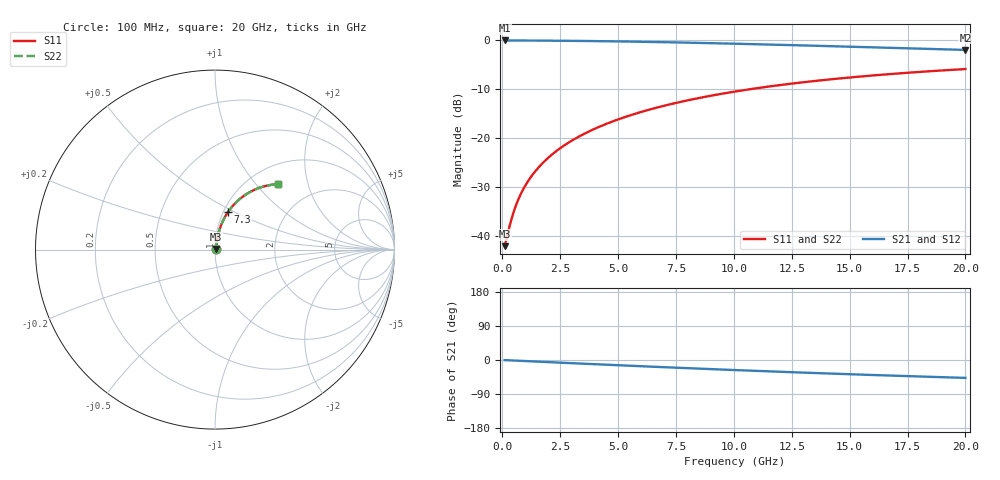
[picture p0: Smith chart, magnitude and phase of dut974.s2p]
! Touchstone file exported from HFSS 2024.1.0
!  File:  C:/UserFiles/LocalFiles/RDL_TSV_Batchsim/temp_RDL_bottom_974_1779943159.aedt
!  Generated:  12:41:59 PM May 28, 2026
!  Design:  RDL_bottom
!  Project:  temp_RDL_bottom_974_1779943159
!  Setup:  Setup1
!  Solution:  Sweep
! Variables:
!  dtsv = 10.80580581um
!  hbump = 3um
!  htsv = 84.82um
!  ldown = 626.53um
!  lrdl = 100um
!  p = 40
!  p1 = 44.38um
!  rhole = 1um
!  t = 450um
!  tdown = 2.57um
!  trdl = 3.915915916um
!  wdown = 12.01um
!  wrdl = 20um
# GHz S MA R 50.000000
! Terminal data exported
! Port[1] = RDL1_T1
! Port[2] = RDL1_T2
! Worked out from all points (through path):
!   200 points, 100 MHz to 20 GHz, reference 50 ohm
!   highest |S21| = -0.06 dB at 100 MHz (marker M1); lowest = -2.0 dB at 20 GHz (marker M2)
!   group delay of S21, straight-line fit = 6.57 ps
!   lowest |S11| = -42.0 dB at 100 MHz (marker M3), VSWR 1.02, Z = 50.7 + j0.333 ohm
!   |S11| at or under -10 dB: start of sweep to 10.7 GHz
!   |S22| runs from -42.0 to -5.9 dB; largest |S21 - S12| = 2.8e-15
!   S11 on the Smith chart (normalised r, x): 100 MHz: 1.01, +0.01; 7.3 GHz: 1.05, +0.47; 20 GHz: 1.35, +1.32
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0.1  0.007947 24.4  0.9928 -0.3  0.9928 -0.3  0.007947 24.4
! Gamma 0 0 0 0
! Port Impedance 50 0 50 0
0.4  0.01511 59.5  0.9924 -1.2  0.9924 -1.2  0.01511 59.5
0.5  0.01803 64.0  0.9922 -1.4  0.9922 -1.4  0.01803 64.0
0.6  0.02101 67.1  0.992 -1.7  0.992 -1.7  0.02101 67.1
0.7  0.02403 69.4  0.9918 -2.0  0.9918 -2.0  0.02403 69.4
0.9  0.0301 72.5  0.9913 -2.6  0.9913 -2.6  0.0301 72.5
1.2  0.03925 75.1  0.9905 -3.4  0.9905 -3.4  0.03925 75.1
1.4  0.04537 76.2  0.99 -4.0  0.99 -4.0  0.04537 76.2
1.7  0.05457 77.2  0.9891 -4.8  0.9891 -4.8  0.05457 77.2
2.2  0.06993 77.9  0.9873 -6.2  0.9873 -6.2  0.06993 77.9
2.8  0.0884 77.9  0.9847 -7.8  0.9847 -7.8  0.0884 77.9
3.5  0.1099 77.4  0.981 -9.8  0.981 -9.8  0.1099 77.4
4.2  0.1313 76.5  0.9767 -11.7  0.9767 -11.7  0.1313 76.5
5  0.1556 75.2  0.9709 -13.8  0.9709 -13.8  0.1556 75.2
5.9  0.1825 73.6  0.9635 -16.2  0.9635 -16.2  0.1825 73.6
6.8  0.209 71.8  0.9552 -18.5  0.9552 -18.5  0.209 71.8
7.3  0.2234 70.8  0.9503 -19.8  0.9503 -19.8  0.2234 70.8
8.6  0.2601 68.1  0.9366 -23.1  0.9366 -23.1  0.2601 68.1
10.1  0.3006 65.0  0.9193 -26.7  0.9193 -26.7  0.3006 65.0
13.4  0.3814 58.2  0.8783 -34.2  0.8783 -34.2  0.3814 58.2
16.7  0.4503 51.8  0.836 -41.0  0.836 -41.0  0.4503 51.8
20  0.5076 45.9  0.7949 -47.2  0.7949 -47.2  0.5075 45.9
